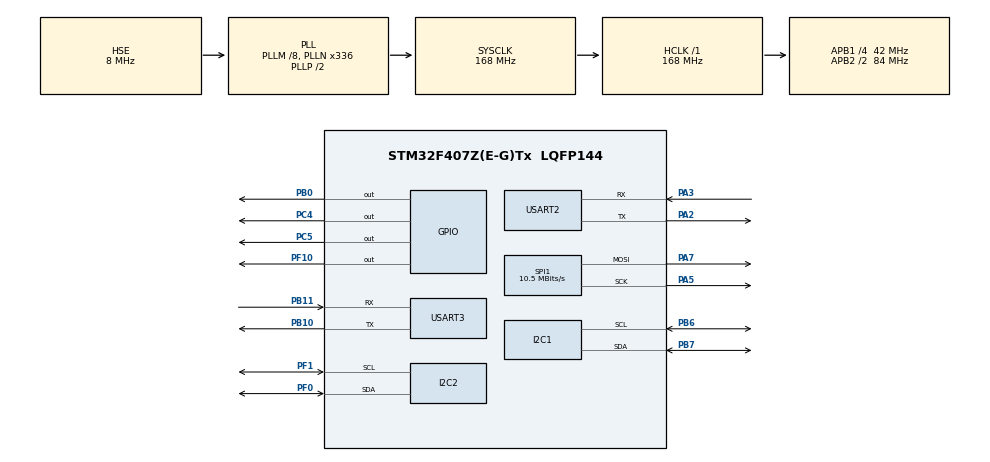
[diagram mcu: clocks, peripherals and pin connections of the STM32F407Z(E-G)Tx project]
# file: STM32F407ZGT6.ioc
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Dma.Request0=SPI1_TX
Dma.SPI1_TX.0.Direction=DMA_MEMORY_TO_PERIPH
Dma.SPI1_TX.0.FIFOMode=DMA_FIFOMODE_DISABLE
Dma.SPI1_TX.0.Instance=DMA2_Stream3
Dma.SPI1_TX.0.MemDataAlignment=DMA_MDATAALIGN_BYTE
Dma.SPI1_TX.0.MemInc=DMA_MINC_ENABLE
Dma.SPI1_TX.0.Mode=DMA_NORMAL
Dma.SPI1_TX.0.PeriphDataAlignment=DMA_PDATAALIGN_BYTE
Dma.SPI1_TX.0.PeriphInc=DMA_PINC_DISABLE
Dma.SPI1_TX.0.Priority=DMA_PRIORITY_LOW
Mcu.Family=STM32F4
Mcu.Name=STM32F407Z(E-G)Tx
Mcu.Package=LQFP144
NVIC.DMA2_Stream3_IRQn=true\:0\:0\:false\:false\:true\:false\:true\:true
NVIC.PriorityGroup=NVIC_PRIORITYGROUP_4
NVIC.SPI1_IRQn=true\:0\:0\:false\:false\:true\:true\:true\:true
NVIC.USART2_IRQn=true\:0\:0\:false\:false\:true\:true\:true\:true
NVIC.USART3_IRQn=true\:0\:0\:false\:false\:true\:true\:true\:true
PA13.Mode=Serial_Wire
PA13.Signal=SYS_JTMS-SWDIO
PA14.Mode=Serial_Wire
PA14.Signal=SYS_JTCK-SWCLK
PA2.Mode=Asynchronous
PA2.Signal=USART2_TX
PA3.Mode=Asynchronous
PA3.Signal=USART2_RX
PA5.Mode=TX_Only_Simplex_Unidirect_Master
PA5.Signal=SPI1_SCK
PA7.Mode=TX_Only_Simplex_Unidirect_Master
PA7.Signal=SPI1_MOSI
PB0.Signal=GPIO_Output
PB10.Mode=Asynchronous
PB10.Signal=USART3_TX
PB11.Mode=Asynchronous
PB11.Signal=USART3_RX
PB6.Mode=I2C
PB6.Signal=I2C1_SCL
PB7.Mode=I2C
PB7.Signal=I2C1_SDA
PC4.GPIO_Speed=GPIO_SPEED_FREQ_HIGH
PC4.PinState=GPIO_PIN_RESET
PC4.Signal=GPIO_Output
PC5.Signal=GPIO_Output
PF0.Mode=I2C
PF0.Signal=I2C2_SDA
PF1.Mode=I2C
PF1.Signal=I2C2_SCL
PF10.GPIO_Speed=GPIO_SPEED_FREQ_HIGH
PF10.PinState=GPIO_PIN_SET
PF10.Signal=GPIO_Output
PH0-OSC_IN.Mode=HSE-External-Oscillator
PH0-OSC_IN.Signal=RCC_OSC_IN
PH1-OSC_OUT.Mode=HSE-External-Oscillator
PH1-OSC_OUT.Signal=RCC_OSC_OUT
ProjectManager.HeapSize=0x200
ProjectManager.StackSize=0x400
ProjectManager.TargetToolchain=Makefile
RCC.48MHZClocksFreq_Value=84000000
RCC.AHBFreq_Value=168000000
RCC.APB1CLKDivider=RCC_HCLK_DIV4
RCC.APB1Freq_Value=42000000
RCC.APB1TimFreq_Value=84000000
RCC.APB2CLKDivider=RCC_HCLK_DIV2
RCC.APB2Freq_Value=84000000
RCC.APB2TimFreq_Value=168000000
RCC.CortexFreq_Value=168000000
RCC.HCLKFreq_Value=168000000
RCC.HSE_VALUE=8000000
RCC.HSI_VALUE=16000000
RCC.LSE_VALUE=32768
RCC.PLLM=8
RCC.PLLN=336
RCC.PLLSourceVirtual=RCC_PLLSOURCE_HSE
RCC.SYSCLKFreq_VALUE=168000000
RCC.SYSCLKSource=RCC_SYSCLKSOURCE_PLLCLK
RCC.VCOOutputFreq_Value=336000000
SPI1.BaudRatePrescaler=SPI_BAUDRATEPRESCALER_8
SPI1.CalculateBaudRate=10.5 MBits/s
SPI1.Direction=SPI_DIRECTION_2LINES
SPI1.Mode=SPI_MODE_MASTER
SPI1.VirtualType=VM_MASTER
USART2.VirtualMode=VM_ASYNC
USART3.VirtualMode=VM_ASYNC
board=custom

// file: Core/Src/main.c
/* USER CODE BEGIN Header */
/**
  ******************************************************************************
  * @file           : main.c
  * @brief          : Main program body
  ******************************************************************************
  * @attention
  *
  * Copyright (c) 2023 STMicroelectronics.
  * All rights reserved.
  *
  * This software is licensed under terms that can be found in the LICENSE file
  * in the root directory of this software component.
  * If no LICENSE file comes with this software, it is provided AS-IS.
  *
  ******************************************************************************
  */
/* USER CODE END Header */
#include "main.h"

/* USER CODE BEGIN Includes */
#include "sgp30.h"
#include "am2320.h"
#include "esp01.h"
#include "uarthandle.h"
#include "ili9341.h"
#include "esp32.h"
/* USER CODE END Includes */

I2C_HandleTypeDef hi2c1;
I2C_HandleTypeDef hi2c2;

SPI_HandleTypeDef hspi1;
DMA_HandleTypeDef hdma_spi1_tx;

UART_HandleTypeDef huart2;
UART_HandleTypeDef huart3;

void SystemClock_Config(void);
static void MX_GPIO_Init(void);
static void MX_DMA_Init(void);
static void MX_I2C1_Init(void);
static void MX_USART2_UART_Init(void);
static void MX_I2C2_Init(void);
static void MX_USART3_UART_Init(void);
static void MX_SPI1_Init(void);

int main(void)
{
  /* USER CODE BEGIN 1 */

  // char sgp30_buffer[40];
  // char am2320_buffer[40];
  char sensor_buffer[100];

  // For ESP-01, change these
  // const char *ssid = "";
  // const char *wifiPassword = "";
  // const char *ip_addr = "10.15.15.49"; // IP for UDP transmissions

  /* USER CODE END 1 */

  /* MCU Configuration--------------------------------------------------------*/

  /* Reset of all peripherals, Initializes the Flash interface and the Systick. */
  HAL_Init();

  /* Configure the system clock */
  SystemClock_Config();

  /* Initialize all configured peripherals */
  MX_GPIO_Init();
  MX_DMA_Init();
  MX_I2C1_Init();
  MX_USART2_UART_Init();
  MX_I2C2_Init();
  MX_USART3_UART_Init();
  MX_SPI1_Init();
  /* USER CODE BEGIN 2 */

  sendToESP32(&huart2, "\nInitializing STM32...\n\n\n");

  /* ESP-01 Set UDP or TCP Server */

  // sendToESP32(&huart2,"\nResetting ESP-01 module... \n");
  // // Reset ESP-01 module
  // resetESP01();
  // HAL_Delay(1000);
  // echoOff();
  // HAL_Delay(1000);

  // sendToESP32(&huart2, "\nConnecting ESP-01 module to Wi-fi... \n");
  // // // Connect ESP-01 to Wi-Fi
  // connectWifi(ssid, wifiPassword);
  // HAL_Delay(1500);

  // // sendToESP32(&huart2, "\nCreating UDP Server... \n");
  // // createUDPServer();
  // // HAL_Delay(1500);

  // // sendToESP32(&huart2, "\nCreating TCP Server... \n");
  // createTCPServer();
  // HAL_Delay(1500);

  // checkIPAddr();
  // HAL_Delay(1500);

  HAL_Delay(1000);
  /*  initialize SGP30 to check air quality */
  sendToESP32(&huart2, "\nInitializing SGP30 sensor...\n");
  if(initSGP30(&hi2c1)!=0){
    sendToESP32(&huart2, "Error! Failed to initialize SGP30.");
  }
  else{
    sendToESP32(&huart2, "Sucessfully initialized SGP30.");
  }
  HAL_Delay(1000);

  sendToESP32(&huart2, "\nInitializion complete!\n");

  /* LCD Init */
  ILI9341_Init(0);
  ILI9341_ClearScreen();
  ILI9341_DrawString(55,10,"Air Quality", Font_11x18);
  ILI9341_DrawString(15,30,"Monitoring Station", Font_11x18);

  /* USER CODE END 2 */

  /* Infinite loop */
  while (1)
  {

    /* USER CODE BEGIN 3 */

    /* read and print temp and humidity from AM2320 */
    float temperature, humidity;

    // check if i2c connection was sucessful
    uint8_t am2320_status = getAM2320Data(&hi2c1, &temperature, &humidity);
    if(am2320_status != 0){
      if(am2320_status == 1){
        sendToESP32(&huart2, "Error! Couldn't transmit to AM2320. \n");
      }
      else{
        sendToESP32(&huart2, "Error! Couldn't read from AM2320. \n");
      }
      // set to 0 for failure
      temperature = 0;
      humidity = 0;
    }

    HAL_Delay(200);

    /* read and print co2 and tvoc from SGP30 */
    uint16_t co2, tvoc;
    uint8_t sgp30_status = getSGP30Data(&hi2c1, &co2, &tvoc);

    // check if i2c connection was sucessful
    if(sgp30_status != 0){
      if(sgp30_status == 1){
         sendToESP32(&huart2, "Error! Couldn't transmit to SGP30. \n");
      }
      else{
        sendToESP32(&huart2, "Error! Couldn't read from SGP30. \n");
      }
      // set to 0 for failure
      co2 = 0;
      tvoc = 0;
    }

    sprintf(sensor_buffer, "{\"Temperature\":%.2f,\"Humidity\":%.2f,\"CO2\":%i,\"TVOC\":%i}", temperature, humidity, co2, tvoc);

    sendToESP32(&huart2, sensor_buffer);

    // sendToESP32(&huart2, "Hello World!");

    sprintf(sensor_buffer, "Temperature: %.2f C", temperature);
    ILI9341_DrawString(40,140, sensor_buffer, Font_7x10);
    sprintf(sensor_buffer, "Humidity: %.2f %%", humidity);
    ILI9341_DrawString(40,160, sensor_buffer, Font_7x10);
    sprintf(sensor_buffer, "CO2:%i ppm", co2);
    ILI9341_DrawString(40,180, sensor_buffer, Font_7x10);
    sprintf(sensor_buffer, "TVOC:%i ppb", tvoc);
    ILI9341_DrawString(40,200, sensor_buffer, Font_7x10);

    // for esp-01
    // sendUDPData("10.15.15.49", temperature, humidity, co2, tvoc);

    HAL_Delay(60000);

  }
  /* USER CODE END 3 */
}

void SystemClock_Config(void)
{
  RCC_OscInitTypeDef RCC_OscInitStruct = {0};
  RCC_ClkInitTypeDef RCC_ClkInitStruct = {0};

  /** Configure the main internal regulator output voltage
  */
  __HAL_RCC_PWR_CLK_ENABLE();
  __HAL_PWR_VOLTAGESCALING_CONFIG(PWR_REGULATOR_VOLTAGE_SCALE1);

  /** Initializes the RCC Oscillators according to the specified parameters
  * in the RCC_OscInitTypeDef structure.
  */
  RCC_OscInitStruct.OscillatorType = RCC_OSCILLATORTYPE_HSE;
  RCC_OscInitStruct.HSEState = RCC_HSE_ON;
  RCC_OscInitStruct.PLL.PLLState = RCC_PLL_ON;
  RCC_OscInitStruct.PLL.PLLSource = RCC_PLLSOURCE_HSE;
  RCC_OscInitStruct.PLL.PLLM = 8;
  RCC_OscInitStruct.PLL.PLLN = 336;
  RCC_OscInitStruct.PLL.PLLP = RCC_PLLP_DIV2;
  RCC_OscInitStruct.PLL.PLLQ = 4;
  if (HAL_RCC_OscConfig(&RCC_OscInitStruct) != HAL_OK)
  {
    Error_Handler();
  }

  /** Initializes the CPU, AHB and APB buses clocks
  */
  RCC_ClkInitStruct.ClockType = RCC_CLOCKTYPE_HCLK|RCC_CLOCKTYPE_SYSCLK
                              |RCC_CLOCKTYPE_PCLK1|RCC_CLOCKTYPE_PCLK2;
  RCC_ClkInitStruct.SYSCLKSource = RCC_SYSCLKSOURCE_PLLCLK;
  RCC_ClkInitStruct.AHBCLKDivider = RCC_SYSCLK_DIV1;
  RCC_ClkInitStruct.APB1CLKDivider = RCC_HCLK_DIV4;
  RCC_ClkInitStruct.APB2CLKDivider = RCC_HCLK_DIV2;

  if (HAL_RCC_ClockConfig(&RCC_ClkInitStruct, FLASH_LATENCY_5) != HAL_OK)
  {
    Error_Handler();
  }
}

static void MX_I2C1_Init(void)
{

  hi2c1.Instance = I2C1;
  hi2c1.Init.ClockSpeed = 100000;
  hi2c1.Init.DutyCycle = I2C_DUTYCYCLE_2;
  hi2c1.Init.OwnAddress1 = 0;
  hi2c1.Init.AddressingMode = I2C_ADDRESSINGMODE_7BIT;
  hi2c1.Init.DualAddressMode = I2C_DUALADDRESS_DISABLE;
  hi2c1.Init.OwnAddress2 = 0;
  hi2c1.Init.GeneralCallMode = I2C_GENERALCALL_DISABLE;
  hi2c1.Init.NoStretchMode = I2C_NOSTRETCH_DISABLE;
  if (HAL_I2C_Init(&hi2c1) != HAL_OK)
  {
    Error_Handler();
  }

}

static void MX_I2C2_Init(void)
{

  hi2c2.Instance = I2C2;
  hi2c2.Init.ClockSpeed = 100000;
  hi2c2.Init.DutyCycle = I2C_DUTYCYCLE_2;
  hi2c2.Init.OwnAddress1 = 0;
  hi2c2.Init.AddressingMode = I2C_ADDRESSINGMODE_7BIT;
  hi2c2.Init.DualAddressMode = I2C_DUALADDRESS_DISABLE;
  hi2c2.Init.OwnAddress2 = 0;
  hi2c2.Init.GeneralCallMode = I2C_GENERALCALL_DISABLE;
  hi2c2.Init.NoStretchMode = I2C_NOSTRETCH_DISABLE;
  if (HAL_I2C_Init(&hi2c2) != HAL_OK)
  {
    Error_Handler();
  }

}

static void MX_SPI1_Init(void)
{

  /* SPI1 parameter configuration*/
  hspi1.Instance = SPI1;
  hspi1.Init.Mode = SPI_MODE_MASTER;
  hspi1.Init.Direction = SPI_DIRECTION_2LINES;
  hspi1.Init.DataSize = SPI_DATASIZE_8BIT;
  hspi1.Init.CLKPolarity = SPI_POLARITY_LOW;
  hspi1.Init.CLKPhase = SPI_PHASE_1EDGE;
  hspi1.Init.NSS = SPI_NSS_SOFT;
  hspi1.Init.BaudRatePrescaler = SPI_BAUDRATEPRESCALER_8;
  hspi1.Init.FirstBit = SPI_FIRSTBIT_MSB;
  hspi1.Init.TIMode = SPI_TIMODE_DISABLE;
  hspi1.Init.CRCCalculation = SPI_CRCCALCULATION_DISABLE;
  hspi1.Init.CRCPolynomial = 10;
  if (HAL_SPI_Init(&hspi1) != HAL_OK)
  {
    Error_Handler();
  }

}

static void MX_USART2_UART_Init(void)
{

  huart2.Instance = USART2;
  huart2.Init.BaudRate = 115200;
  huart2.Init.WordLength = UART_WORDLENGTH_8B;
  huart2.Init.StopBits = UART_STOPBITS_1;
  huart2.Init.Parity = UART_PARITY_NONE;
  huart2.Init.Mode = UART_MODE_TX_RX;
  huart2.Init.HwFlowCtl = UART_HWCONTROL_NONE;
  huart2.Init.OverSampling = UART_OVERSAMPLING_16;
  if (HAL_UART_Init(&huart2) != HAL_OK)
  {
    Error_Handler();
  }
  /* USER CODE BEGIN USART2_Init 2 */
  HAL_UART_MspInit(&huart2);
  HAL_UART_Receive_IT(&huart2, (uint8_t *)&esp32SingleBuffer, 1);
  /* USER CODE END USART2_Init 2 */

}

static void MX_USART3_UART_Init(void)
{

  huart3.Instance = USART3;
  huart3.Init.BaudRate = 115200;
  huart3.Init.WordLength = UART_WORDLENGTH_8B;
  huart3.Init.StopBits = UART_STOPBITS_1;
  huart3.Init.Parity = UART_PARITY_NONE;
  huart3.Init.Mode = UART_MODE_TX_RX;
  huart3.Init.HwFlowCtl = UART_HWCONTROL_NONE;
  huart3.Init.OverSampling = UART_OVERSAMPLING_16;
  if (HAL_UART_Init(&huart3) != HAL_OK)
  {
    Error_Handler();
  }
  /* USER CODE BEGIN USART3_Init 2 */
  // HAL_UART_MspInit(&huart3);
  // HAL_UART_Receive_IT(&huart3, (uint8_t *)&esp01_single_buffer, 1);
  /* USER CODE END USART3_Init 2 */

}

static void MX_DMA_Init(void)
{

  /* DMA controller clock enable */
  __HAL_RCC_DMA2_CLK_ENABLE();

  /* DMA interrupt init */
  /* DMA2_Stream3_IRQn interrupt configuration */
  HAL_NVIC_SetPriority(DMA2_Stream3_IRQn, 0, 0);
  HAL_NVIC_EnableIRQ(DMA2_Stream3_IRQn);

}

static void MX_GPIO_Init(void)
{
  GPIO_InitTypeDef GPIO_InitStruct = {0};

  /* GPIO Ports Clock Enable */
  __HAL_RCC_GPIOF_CLK_ENABLE();
  __HAL_RCC_GPIOH_CLK_ENABLE();
  __HAL_RCC_GPIOA_CLK_ENABLE();
  __HAL_RCC_GPIOC_CLK_ENABLE();
  __HAL_RCC_GPIOB_CLK_ENABLE();

  /*Configure GPIO pin Output Level */
  HAL_GPIO_WritePin(GPIOF, GPIO_PIN_10, GPIO_PIN_SET);

  /*Configure GPIO pin Output Level */
  HAL_GPIO_WritePin(GPIOC, GPIO_PIN_4|GPIO_PIN_5, GPIO_PIN_RESET);

  /*Configure GPIO pin Output Level */
  HAL_GPIO_WritePin(GPIOB, GPIO_PIN_0, GPIO_PIN_RESET);

  /*Configure GPIO pin : PF10 */
  GPIO_InitStruct.Pin = GPIO_PIN_10;
  GPIO_InitStruct.Mode = GPIO_MODE_OUTPUT_PP;
  GPIO_InitStruct.Pull = GPIO_NOPULL;
  GPIO_InitStruct.Speed = GPIO_SPEED_FREQ_HIGH;
  HAL_GPIO_Init(GPIOF, &GPIO_InitStruct);

  /*Configure GPIO pin : PC4 */
  GPIO_InitStruct.Pin = GPIO_PIN_4;
  GPIO_InitStruct.Mode = GPIO_MODE_OUTPUT_PP;
  GPIO_InitStruct.Pull = GPIO_NOPULL;
  GPIO_InitStruct.Speed = GPIO_SPEED_FREQ_HIGH;
  HAL_GPIO_Init(GPIOC, &GPIO_InitStruct);

  /*Configure GPIO pin : PC5 */
  GPIO_InitStruct.Pin = GPIO_PIN_5;
  GPIO_InitStruct.Mode = GPIO_MODE_OUTPUT_PP;
  GPIO_InitStruct.Pull = GPIO_NOPULL;
  GPIO_InitStruct.Speed = GPIO_SPEED_FREQ_LOW;
  HAL_GPIO_Init(GPIOC, &GPIO_InitStruct);

  /*Configure GPIO pin : PB0 */
  GPIO_InitStruct.Pin = GPIO_PIN_0;
  GPIO_InitStruct.Mode = GPIO_MODE_OUTPUT_PP;
  GPIO_InitStruct.Pull = GPIO_NOPULL;
  GPIO_InitStruct.Speed = GPIO_SPEED_FREQ_LOW;
  HAL_GPIO_Init(GPIOB, &GPIO_InitStruct);

}

void Error_Handler(void)
{
  __disable_irq();
  while (1)
  {
  }
}
